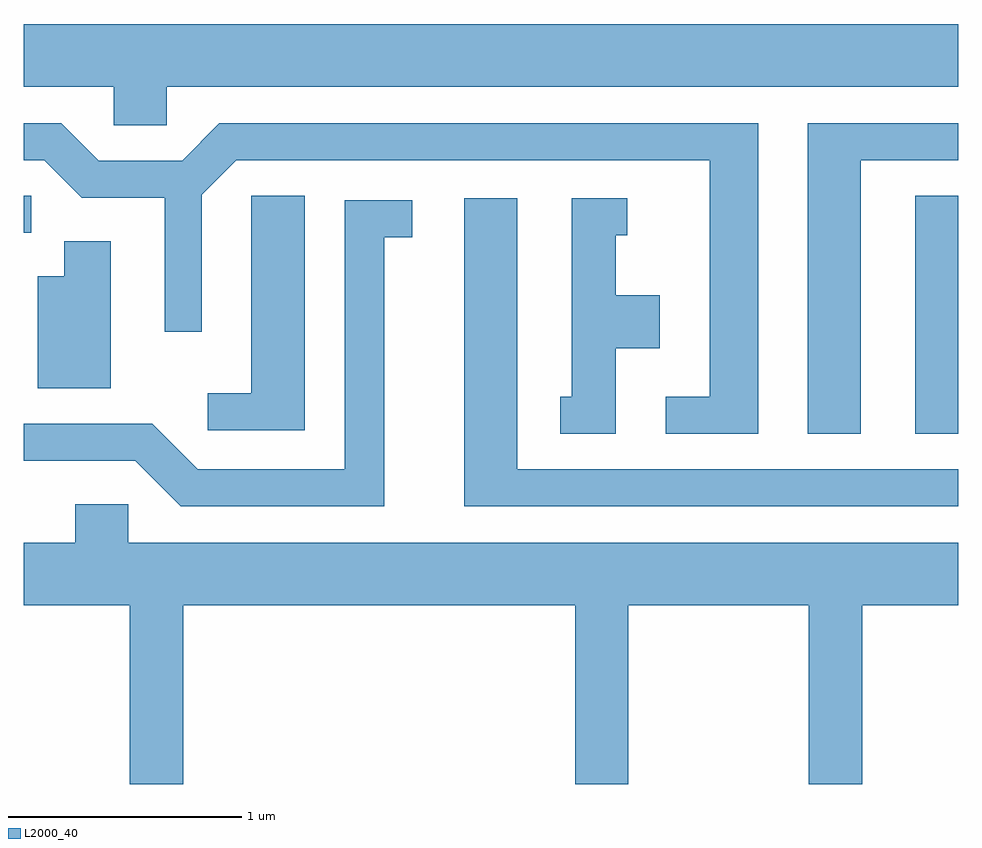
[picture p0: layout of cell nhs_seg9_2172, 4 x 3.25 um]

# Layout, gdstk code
import gdstk
lib = gdstk.Library(unit=1e-6, precision=1e-09)
def R(c, l, rs):  # rectangles x0, y0, x1, y1
    for r in rs: c.add(gdstk.rectangle(r[:2], r[2:], *l))
def P(c, l, *ps):  # polygons
    for p in ps: c.add(gdstk.Polygon(p, *l))
L2000_40 = (2000, 40)

nhs_seg9_2172 = lib.new_cell('nhs_seg9_2172')
R(nhs_seg9_2172, L2000_40, [(253.426,1945.931,253.611,1946.949), (249.611,1946.791,249.643,1946.949)])
P(nhs_seg9_2172, L2000_40, [(250.224,1947.416),(253.611,1947.416),(253.611,1947.684),(249.611,1947.684),(249.611,1947.416),(249.996,1947.416),(249.996,1947.251),(250.224,1947.251)],
  [(253.194,1947.101),(253.611,1947.101),(253.611,1947.259),(252.966,1947.259),(252.966,1945.931),(253.194,1945.931)],
  [(252.754,1947.259),(250.449,1947.259),(250.289,1947.099),(249.932,1947.099),(249.772,1947.259),(249.611,1947.259),(249.611,1947.101),(249.699,1947.101),(249.859,1946.941),(250.216,1946.941),(250.216,1946.368),(250.374,1946.368),(250.374,1946.954),(250.522,1947.101),(252.546,1947.101),(252.546,1946.089),(252.358,1946.089),(252.358,1945.931),(252.754,1945.931)],
  [(250.814,1946.949),(250.586,1946.949),(250.586,1946.104),(250.398,1946.104),(250.398,1945.946),(250.814,1945.946)],
  [(252.144,1946.296),(252.334,1946.296),(252.334,1946.524),(252.144,1946.524),(252.144,1946.781),(252.193,1946.781),(252.193,1946.939),(251.956,1946.939),(251.956,1946.089),(251.908,1946.089),(251.908,1945.931),(252.144,1945.931)],
  [(253.611,1945.779),(251.724,1945.779),(251.724,1946.939),(251.496,1946.939),(251.496,1945.621),(253.611,1945.621)],
  [(251.154,1946.771),(251.273,1946.771),(251.273,1946.929),(250.986,1946.929),(250.986,1945.779),(250.357,1945.779),(250.162,1945.974),(249.611,1945.974),(249.611,1945.816),(250.089,1945.816),(250.284,1945.621),(251.154,1945.621)],
  [(249.984,1946.754),(249.786,1946.754),(249.786,1946.604),(249.671,1946.604),(249.671,1946.126),(249.984,1946.126)],
  [(250.294,1945.196),(251.971,1945.196),(251.971,1944.432),(252.199,1944.432),(252.199,1945.196),(252.971,1945.196),(252.971,1944.432),(253.199,1944.432),(253.199,1945.196),(253.611,1945.196),(253.611,1945.464),(250.059,1945.464),(250.059,1945.629),(249.831,1945.629),(249.831,1945.464),(249.611,1945.464),(249.611,1945.196),(250.066,1945.196),(250.066,1944.432),(250.294,1944.432)])

lib.write_gds('nhs_seg9_2172.gds')
